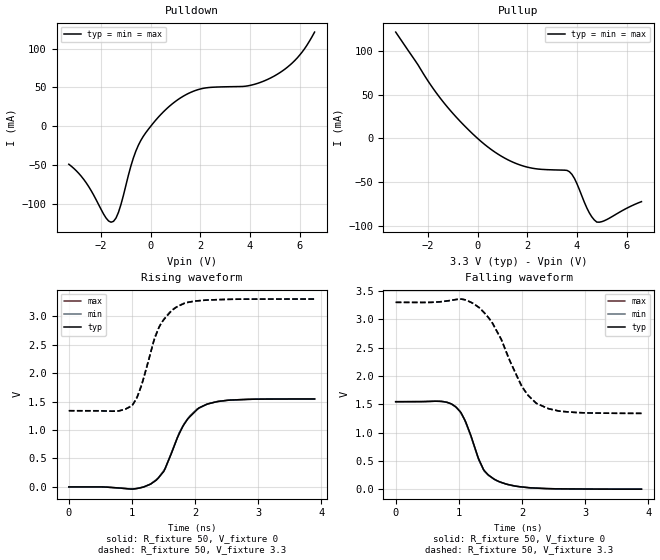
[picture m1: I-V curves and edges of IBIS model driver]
| IBIS file ex2_slowpre_tr10ps.ibs created by PYS2IBIS3
| Missouri S&T EMC Lab
[IBIS Ver] 7.1
[File Name] ex2_slowpre_tr10ps.ibs
[File Rev] 1.0
[Date] July 28, 2026
[Source] ex2 variant 'slowpre' -- predriver at half width
[Notes] Parameter selection; sim_time=3.894e-09, tr=tf=1.000e-11.
[Disclaimer] Experimental characterization for pybis observability study.
[Component] MCM Driver 1
[Manufacturer] MegaFLOPS Inc.
[Package]
| variable   typ   min   max
R_pkg 0 NA NA
L_pkg 0H NA NA
C_pkg 0F NA NA
[Pin]  signal_name   model_name   R_pin   L_pin   C_pin
vdd   vdd   POWER
gnd   gnd   GND
| in in dummy
out   out   driver
| End of Component
| Models and submodels in the file (1): driver (Output)
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[Model] driver
Model_type Output
Polarity Non-Inverting
Enable Active-Low
Vinl  = 0.8V
Vinh  = 2V
C_comp 5.0000pF 5.0000pF 5.0000pF
[Temperature Range] 27.0000 27.0000 27.0000
[Voltage Range] 3.3000V 3.3000V 3.3000V
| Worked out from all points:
|   slope of the pulldown table from 0 to 0.495 V, typ, clamps not added: 27.4 ohm
|   slope of the pullup table from 0 to 0.495 V, typ, clamps not added: 42.7 ohm
|   rising waveform, R_fixture 50, V_fixture 0: 20-80 % time 402ps typ, 389ps min, 389ps max; typ from 0 V to 1.54 V
|   rising waveform, R_fixture 50, V_fixture 3.3: 20-80 % time 349ps typ, 351ps min, 351ps max; typ from 1.34 V to 3.3 V
|   falling waveform, R_fixture 50, V_fixture 0: 20-80 % time 330ps typ, 325ps min, 325ps max; typ from 1.54 V to 0 V
|   falling waveform, R_fixture 50, V_fixture 3.3: 20-80 % time 503ps typ, 503ps min, 503ps max; typ from 3.3 V to 1.34 V
[Pulldown]
| Voltage   I(typ)   I(min)   I(max)
-3.3V     -48.93mA   -48.93mA   -48.93mA
-2.6V     -72.86mA   -72.86mA   -72.86mA
-1.8V     -118.2mA   -118.2mA   -118.2mA
-1.5V     -122.5mA   -122.5mA   -122.5mA
-1.3V     -110.9mA   -110.9mA   -110.9mA
-500mV    -24.59mA   -24.59mA   -24.59mA
600mV     21.34mA    21.34mA    21.34mA
1.9V      47.12mA    47.12mA    47.12mA
3.9V      51.99mA    51.99mA    51.99mA
4.9V      63.38mA    63.38mA    63.38mA
5.9V      87.99mA    87.99mA    87.99mA
6.6V      121.3mA    121.3mA    121.3mA
[Pullup]
| Voltage   I(typ)   I(min)   I(max)
-3.3V     122mA      122mA      122mA
-1.9V     61.75mA    61.75mA    61.75mA
-1.3V     38.86mA    38.86mA    38.86mA
-200mV    5.278mA    5.278mA    5.278mA
700mV     -15.75mA   -15.75mA   -15.75mA
2V        -32.92mA   -32.92mA   -32.92mA
3.7V      -38.24mA   -38.24mA   -38.24mA
3.9V      -45.89mA   -45.89mA   -45.89mA
4.5V      -85.43mA   -85.43mA   -85.43mA
4.8V      -95.97mA   -95.97mA   -95.97mA
5.1V      -94.48mA   -94.48mA   -94.48mA
6.6V      -72.53mA   -72.53mA   -72.53mA
[Ramp]
| variable   typ   min   max
dV/dt_r 0.9270/0.4015n 0.9270/0.3886n 0.9270/0.3886n
dV/dt_f 1.1766/0.5034n 1.1766/0.5027n 1.1766/0.5027n
R_load = 50
[Rising Waveform]
R_fixture = 50
V_fixture = 0
|time   V(typ)   V(min)   V(max)
0s        7.302nV    7.302nV    7.302nV
1.017ns   -37.11mV   -38.99mV   -38.99mV
1.298ns   51.48mV    51.54mV    51.54mV
1.505ns   270.7mV    285.8mV    285.8mV
1.746ns   925.9mV    942.1mV    942.1mV
1.875ns   1.184V     1.184V     1.184V
2.023ns   1.347V     1.359V     1.359V
2.175ns   1.446V     1.45V      1.45V
2.627ns   1.53V      1.529V     1.529V
3.894ns   1.545V     1.545V     1.545V
[Rising Waveform]
R_fixture = 50
V_fixture = 3.3
|time   V(typ)   V(min)   V(max)
0s        1.338V     1.338V     1.338V
732.8ps   1.33V      1.33V      1.33V
993.9ps   1.418V     1.431V     1.431V
1.091ns   1.602V     1.601V     1.601V
1.15ns    1.771V     1.788V     1.788V
1.36ns    2.604V     2.624V     2.624V
1.427ns   2.799V     2.798V     2.798V
1.59ns    3.048V     3.06V      3.06V
1.813ns   3.215V     3.222V     3.222V
3.894ns   3.3V       3.3V       3.3V
[Falling Waveform]
R_fixture = 50
V_fixture = 0
|time   V(typ)   V(min)   V(max)
0s        1.545V     1.545V     1.545V
732.8ps   1.55V      1.549V     1.549V
935.5ps   1.467V     1.468V     1.468V
1.017ns   1.375V     1.376V     1.376V
1.107ns   1.197V     1.184V     1.184V
1.314ns   539.4mV    523.3mV    523.3mV
1.403ns   329.3mV    320.6mV    320.6mV
1.653ns   127.7mV    124.8mV    124.8mV
2.276ns   14.95mV    14.99mV    14.99mV
3.894ns   99.3uV     103.9uV    103.9uV
[Falling Waveform]
R_fixture = 50
V_fixture = 3.3
|time   V(typ)   V(min)   V(max)
0s        3.3V       3.3V       3.3V
1.021ns   3.357V     3.358V     3.358V
1.317ns   3.214V     3.212V     3.212V
1.52ns    2.962V     2.957V     2.957V
1.661ns   2.676V     2.673V     2.673V
1.984ns   1.849V     1.839V     1.839V
2.089ns   1.667V     1.666V     1.666V
2.233ns   1.513V     1.514V     1.514V
2.736ns   1.363V     1.362V     1.362V
3.894ns   1.339V     1.339V     1.339V
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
